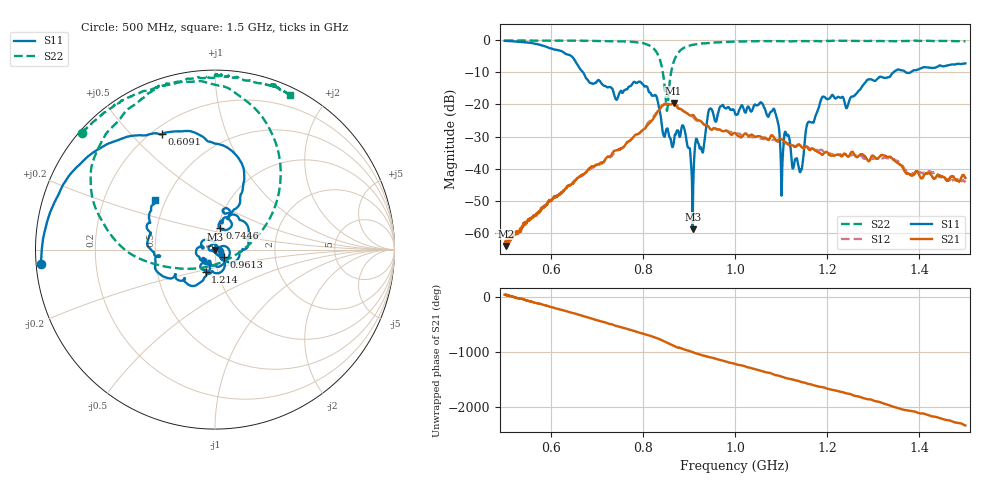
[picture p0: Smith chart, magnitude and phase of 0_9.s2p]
!Agilent Technologies,E8364B,US42250235,A.06.04.32
!Agilent E8364B: A.06.04.32
!Date: Thursday, October 01, 2020 14:19:08
!Correction: S11(Full 2 Port(1,2)) S21(Full 2 Port(1,2)) S12(Full 2 Port(1,2)) S22(Full 2 Port(1,2))
!S2P File: Measurements: S11, S21, S12, S22:
# Hz S  dB  R 50
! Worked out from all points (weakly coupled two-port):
!   2650 points, 500 MHz to 1.5 GHz, reference 50 ohm
!   highest |S21| = -19.71 dB at 866.6 MHz (marker M1); lowest = -64.0 dB at 502.3 MHz (marker M2)
!   lowest |S11| = -58.8 dB at 908.1 MHz (marker M3), VSWR 1.00, Z = 49.9 + j0.0531 ohm
!   |S11| at or under -10 dB: 670.1 MHz to 1.344 GHz (674 MHz wide, 66.9 % of centre); 1.37 GHz to 1.381 GHz (11.13 MHz wide, 0.809 % of centre)
!   |S22| runs from -22.0 to -0.1 dB; largest |S21 - S12| = 0.03
!   S11 on the Smith chart (normalised r, x): 500 MHz: 0.01, -0.04; 609.1 MHz: 0.24, +0.61; 744.6 MHz: 1.03, +0.25; 961.3 MHz: 1.10, -0.09; 1.214 GHz: 0.87, -0.22; 1.5 GHz: 0.44, +0.30
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5e8  -0.24 -175.4  -63.25 46.5  -63.55 45.1  -0.14 138.8
5.02265e8  -0.26 -176.6  -63.99 49.6  -63.85 40.5  -0.14 138.5
6.090978e8  -3.00 114.8  -48.59 162.1  -48.46 164.1  -0.18 125.1
6.668554e8  -9.51 64.8  -42.08 26.9  -42.30 31.8  -0.20 121.6
7.446206e8  -18.32 77.1  -34.19 -168.7  -34.48 -149.2  -0.40 106.8
7.929407e8  -12.92 39.1  -28.99 74.6  -28.91 92.4  -0.81 87.4
8.337108e8  -20.02 -43.9  -21.94 -35.3  -21.82 -20.0  -4.83 50.4
8.522084e8  -27.57 -21.3  -20.02 -108.2  -19.70 -91.7  -22.01 -64.6
8.665534e8  -32.40 4.5  -19.71 -161.7  -19.47 -147.1  -6.93 -175.4
8.884485e8  -26.90 -43.7  -22.11 134.0  -22.19 140.4  -2.47 155.9
9.080785e8  -58.84 152.2  -23.29 80.3  -23.81 83.8  -1.49 143.4
9.443186e8  -21.48 -12.2  -27.28 -13.5  -27.01 -2.8  -0.92 126.3
9.613062e8  -23.91 -40.3  -27.82 -47.5  -27.76 -39.2  -0.71 121.2
1.000189e9  -22.86 -118.9  -28.94 -135.9  -28.81 -130.0  -0.47 112.9
1.083994e9  -21.32 150.1  -30.09 30.7  -30.87 39.1  -0.38 107.6
1.100982e9  -48.38 130.4  -30.83 -7.7  -31.47 -0.9  -0.35 105.7
1.112307e9  -29.66 138.4  -32.09 -36.3  -32.18 -26.2  -0.36 103.1
1.141374e9  -41.00 133.5  -32.75 -98.3  -32.89 -92.1  -0.34 97.8
1.166667e9  -25.61 -52.5  -33.80 -151.0  -33.69 -149.6  -0.35 92.8
1.213854e9  -17.48 -113.0  -36.00 109.5  -35.62 106.4  -0.20 88.6
1.333522e9  -11.58 -147.9  -36.34 -164.7  -36.73 -164.4  -0.35 78.6
1.5e9  -7.24 140.6  -42.90 -176.2  -44.21 -176.3  -0.38 64.2
